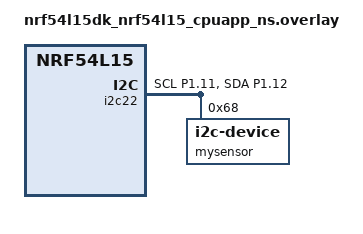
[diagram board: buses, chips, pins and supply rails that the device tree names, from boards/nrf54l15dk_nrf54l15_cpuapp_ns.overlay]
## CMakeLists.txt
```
# SPDX-License-Identifier: Apache-2.0

cmake_minimum_required(VERSION 3.20.0)
find_package(Zephyr REQUIRED HINTS $ENV{ZEPHYR_BASE})
project(l6)

target_sources(app PRIVATE src/main.c)
```

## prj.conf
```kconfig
CONFIG_GPIO=y
CONFIG_I2C=y

CONFIG_TFM_SECURE_UART=n
CONFIG_TFM_LOG_LEVEL_SILENCE=y

CONFIG_CBPRINTF_FP_SUPPORT=y
```

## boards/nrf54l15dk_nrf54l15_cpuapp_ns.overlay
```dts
// &i2c0 {
// 	mpu6050: mpu6050@68 {
// 		compatible = "invensense,mpu6050";
// 		reg = <0x68>;
// 		label = "MPU6050";
// 		status = "okay";
// 	};
// };

&i2c22 {
	status = "okay";
	pinctrl-0 = <&i2c22_default>;
	pinctrl-1 = <&i2c22_sleep>;
	pinctrl-names = "default", "sleep";
	mysensor: mysensor@68 {
		compatible = "i2c-device";
		status = "okay";
		reg = <0x68>;
	};
};

&pinctrl {
	/omit-if-no-ref/ i2c22_default: i2c22_default {
		group1 {
			psels = <NRF_PSEL(TWIM_SCL, 1, 11)>,
				<NRF_PSEL(TWIM_SDA, 1, 12)>;
		};
	};

	/omit-if-no-ref/ i2c22_sleep: i2c22_sleep {
		group1 {
			psels = <NRF_PSEL(TWIM_SCL, 1, 11)>,
				<NRF_PSEL(TWIM_SDA, 1, 12)>;
			low-power-enable;
		};
	};
};
```

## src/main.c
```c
/*
 * Copyright (c) 2016 Intel Corporation
 *
 * SPDX-License-Identifier: Apache-2.0
 */

#include <stdio.h>
#include <zephyr/kernel.h>
#include <zephyr/drivers/gpio.h>
#include <zephyr/sys/printk.h>
#include <zephyr/drivers/i2c.h>
#include <zephyr/sys/byteorder.h>

#define SLEEP_TIME_MS   	1000

static const struct gpio_dt_spec led0 = GPIO_DT_SPEC_GET(DT_ALIAS(led0), gpios);
static const struct gpio_dt_spec led1 = GPIO_DT_SPEC_GET(DT_ALIAS(led1), gpios);
static const struct gpio_dt_spec led2 = GPIO_DT_SPEC_GET(DT_ALIAS(led2), gpios);


#define MPU6050_WHO_AM_I_REG 		0x75
#define MPU6050_WHO_AM_I_VAL 		0x68
#define MPU6050_ACCEL_XOUT_H_REG 	0x3B

#define MPU6050_PWR_MGMT_1_REG 		0x6B
#define MPU6050_SLEEP_EN       		BIT(6)

#define I2C_NODE DT_NODELABEL(mysensor)
static const struct i2c_dt_spec dev_i2c = I2C_DT_SPEC_GET(I2C_NODE);

int main(void)
{
	int ret;

	if (!device_is_ready(led0.port)){
		printk("GPIO device is not ready\r\n");
		return 1;
	}

	if (!device_is_ready(dev_i2c.bus)) {
		printk("I2C bus %s is not ready!\n\r",dev_i2c.bus->name);
		return -1;
	}

	ret = gpio_pin_configure_dt(&led0, GPIO_OUTPUT_ACTIVE);
	if (ret < 0) {
		return 1 ; 
	}
	ret = gpio_pin_configure_dt(&led1, GPIO_OUTPUT_ACTIVE);
	if (ret < 0) {
		return 1 ;
	}
	ret = gpio_pin_configure_dt(&led2, GPIO_OUTPUT_ACTIVE);
	if (ret < 0) {
		return 1 ;
	}

	uint8_t id = 0;
	uint8_t regs[] = {MPU6050_WHO_AM_I_REG};

	ret = i2c_write_read_dt(&dev_i2c, regs, 1, &id, 1);

	if (ret != 0) {
		printk("Failed to read register %x \n", regs[0]);
		return -1;
	}

	if (id != MPU6050_WHO_AM_I_VAL) {
		printk("Invalid chip id! %x \n", id);
		return -1;
	} else {
		printk("MPU6050 detected! Chip id: %x \n", id);
	}

	ret = i2c_reg_update_byte_dt(&dev_i2c,
                             MPU6050_PWR_MGMT_1_REG,
                             MPU6050_SLEEP_EN,
                             0);

	if (ret != 0) {
			printk("Failed to wake MPU6050: %d\n", ret);
			return ret;
	}

	k_msleep(10);

	uint8_t pwr_mgmt;

	ret = i2c_reg_read_byte_dt(&dev_i2c,
							MPU6050_PWR_MGMT_1_REG,
							&pwr_mgmt);

	printk("PWR_MGMT_1: 0x%02x, ret: %d\n", pwr_mgmt, ret);

	uint8_t data[6];
	int16_t x, y, z;

	while (1) {
		ret = i2c_burst_read_dt(&dev_i2c, MPU6050_ACCEL_XOUT_H_REG, data, 6);
		if (!ret) {
			x = (int16_t)sys_get_be16(&data[0]);
			y = (int16_t)sys_get_be16(&data[2]);
			z = (int16_t)sys_get_be16(&data[4]);
			printk("Accelerometer data: %d %d %d\n", x, y, z);
		} else {
			printk("Failed to read accelerometer data\n");
		}
		k_msleep(SLEEP_TIME_MS);
	}
	return 0;
}
```
